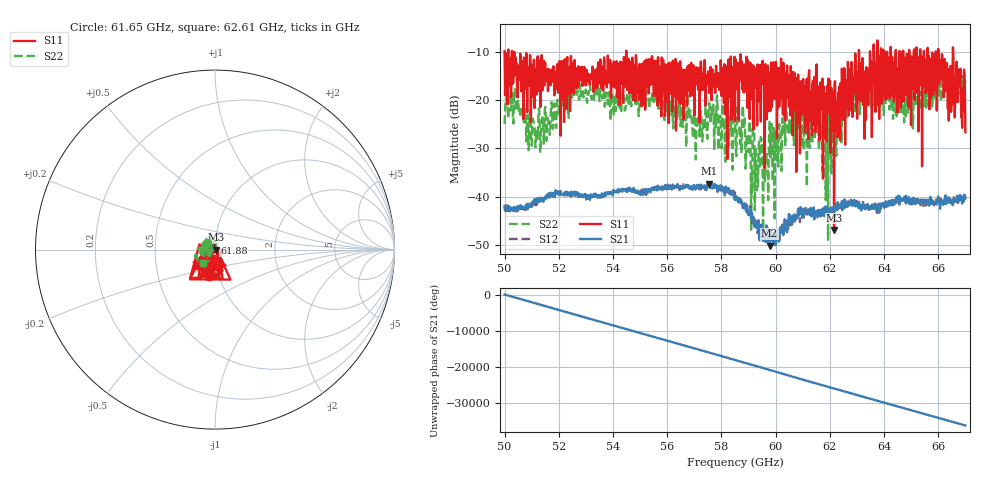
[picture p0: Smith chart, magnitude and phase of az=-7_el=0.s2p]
!Created with skrf (http://scikit-rf.org).
# GHz S RI R 50.0
!freq ReS11 ImS11 ReS21 ImS21 ReS12 ImS12 ReS22 ImS22
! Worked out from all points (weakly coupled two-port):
!   1001 points, 50 GHz to 67 GHz, reference 50 ohm
!   highest |S21| = -37.30 dB at 57.53 GHz (marker M1); lowest = -50.2 dB at 59.77 GHz (marker M2)
!   lowest |S11| = -46.9 dB at 62.16 GHz (marker M3), VSWR 1.01, Z = 50.5 + j0.00338 ohm
!   |S11| at or under -10 dB: 50.36 GHz to 54.49 GHz (4.13 GHz wide, 7.88 % of centre); 54.49 GHz to 63.07 GHz (8.582 GHz wide, 14.6 % of centre); 66 GHz to 66.54 GHz (533.4 MHz wide, 0.805 % of centre) (the widest 3 of 27)
!   |S22| runs from -49.6 to -13.9 dB; largest |S21 - S12| = 0.0022
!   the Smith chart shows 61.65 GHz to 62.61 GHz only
!   S11 on the Smith chart (normalised r, x): 61.65 GHz: 0.89, -0.27; 61.88 GHz: 0.99, +0.07; 62.61 GHz: 0.86, -0.11
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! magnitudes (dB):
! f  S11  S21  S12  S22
! 50 GHz  -9.8  -41.9  -41.9  -24.9
! 50.42 GHz  -13.3  -42.4  -42.3  -22.0
! 51.38 GHz  -16.5  -40.9  -40.3  -24.6
! 52.84 GHz  -14.1  -40.0  -39.6  -19.1
! 55.68 GHz  -13.4  -38.2  -38.4  -22.3
! 57 GHz  -23.2  -37.9  -37.7  -21.6
! 57.53 GHz  -14.2  -37.3  -37.9  -21.8
! 58.5 GHz  -24.4  -40.1  -39.5  -24.6
! 58.79 GHz  -14.0  -42.4  -41.3  -21.1
! 59.3 GHz  -15.4  -45.7  -45.8  -38.7
! 59.77 GHz  -22.2  -50.2  -46.6  -24.5
! 60.64 GHz  -14.1  -44.5  -44.3  -22.1
! 61.34 GHz  -27.3  -42.7  -42.7  -25.8
! 61.65 GHz  -16.3  -42.8  -43.0  -25.1
! 61.88 GHz  -28.5  -43.3  -42.8  -23.3
! 62.16 GHz  -46.9  -43.2  -42.4  -28.4
! 62.61 GHz  -20.5  -41.5  -41.5  -20.2
! 64.18 GHz  -18.7  -40.9  -41.0  -18.6
! 66.08 GHz  -15.2  -41.0  -41.3  -15.7
! 66.42 GHz  -15.1  -41.2  -40.4  -16.2
! 66.75 GHz  -17.0  -40.3  -40.1  -18.5
! 67 GHz  -26.6  -40.1  -40.0  -15.8
